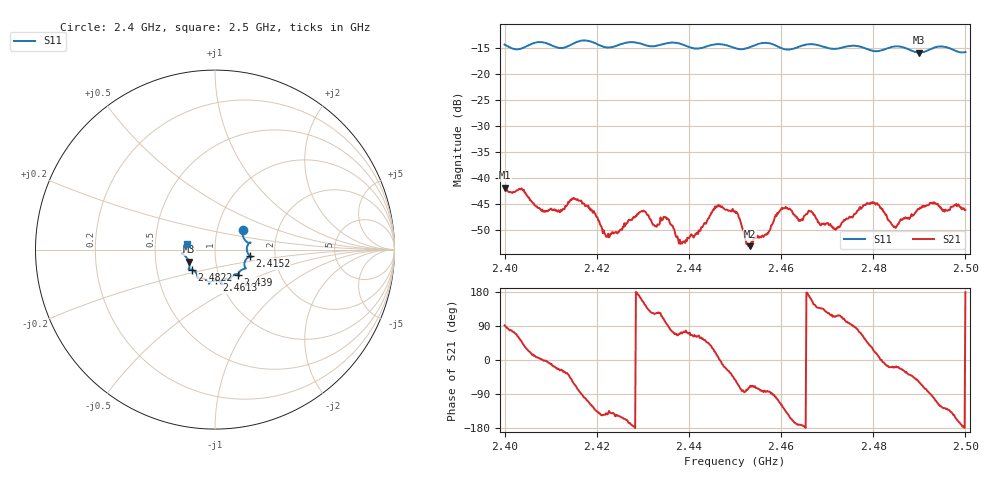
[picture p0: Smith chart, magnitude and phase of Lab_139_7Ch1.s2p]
# Hz S RI R 50
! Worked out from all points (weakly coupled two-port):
!   601 points, 2.4 GHz to 2.5 GHz, reference 50 ohm
!   highest |S21| = -41.85 dB at 2.4 GHz (marker M1); lowest = -53.1 dB at 2.4532 GHz (marker M2)
!   lowest |S11| = -15.9 dB at 2.4898 GHz (marker M3), VSWR 1.38, Z = 37 - j5.04 ohm
!   |S11| at or under -10 dB: start of sweep to end of sweep
!   S12 and S22 are empty: the file has one direction only
!   S11 on the Smith chart (normalised r, x): 2.4 GHz: 1.33, +0.31; 2.4152 GHz: 1.48, -0.11; 2.439 GHz: 1.24, -0.36; 2.4613 GHz: 0.96, -0.34; 2.4822 GHz: 0.76, -0.17; 2.5 GHz: 0.72, +0.05
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2.4e9  0.1557 0.1109  -0.000168 0.00808  0 0  0 0
2.408833e9  0.195 0.0387  0.00484 -0.000164  0 0  0 0
2.415167e9  0.1948 -0.0358  0.00272 -0.00569  0 0  0 0
2.416667e9  0.2044 -0.0418  2.65e-05 -0.00608  0 0  0 0
2.422333e9  0.1676 -0.0635  -0.00221 -0.00162  0 0  0 0
2.429833e9  0.1607 -0.1077  -0.00445 0.00191  0 0  0 0
2.433333e9  0.1326 -0.1328  -0.00207 0.00291  0 0  0 0
2.435167e9  0.1322 -0.1456  -0.000326 0.00403  0 0  0 0
2.439e9  0.1276 -0.1389  0.000635 0.00237  0 0  0 0
2.446167e9  0.085 -0.1733  0.00521 0.00103  0 0  0 0
2.45e9  0.0687 -0.1632  0.003 -0.00376  0 0  0 0
2.453167e9  0.0379 -0.1762  0.0007 -0.0021  0 0  0 0
2.461333e9  0.00772 -0.1709  -0.00398 -0.0033  0 0  0 0
2.464167e9  -0.028 -0.1819  -0.00384 -0.000604  0 0  0 0
2.466667e9  -0.0333 -0.1901  -0.00434 0.00187  0 0  0 0
2.471833e9  -0.0637 -0.1622  -0.00134 0.00288  0 0  0 0
2.478333e9  -0.0982 -0.1455  0.00329 0.00441  0 0  0 0
2.482167e9  -0.1283 -0.1118  0.00474 -0.000497  0 0  0 0
2.483333e9  -0.1397 -0.1102  0.00374 -0.00125  0 0  0 0
2.484833e9  -0.1471 -0.1103  0.00315 -0.00105  0 0  0 0
2.489833e9  -0.1459 -0.0663  0.00274 -0.00422  0 0  0 0
2.5e9  -0.1586 0.034  -0.00492 0.000106  0 0  0 0
